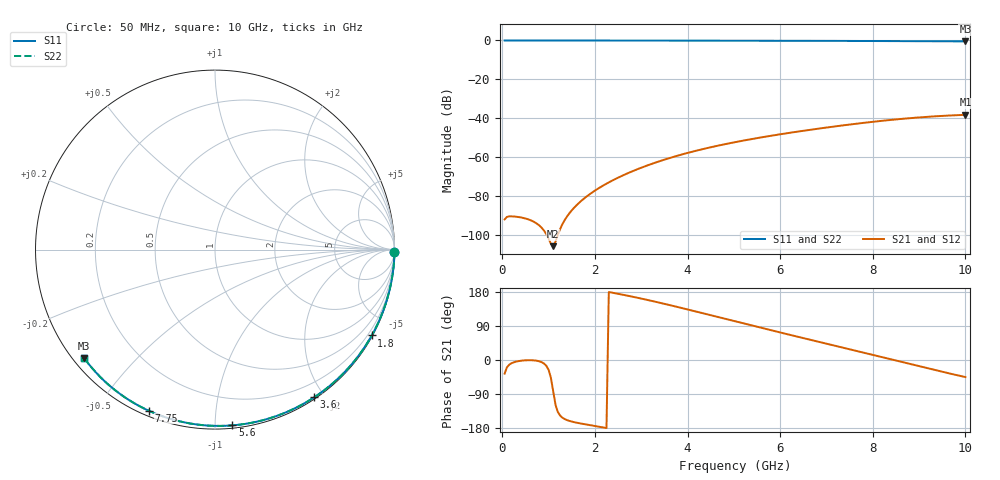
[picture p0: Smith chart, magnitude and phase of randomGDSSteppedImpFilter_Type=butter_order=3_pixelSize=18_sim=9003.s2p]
! freq	dB(S11)	phase(S11)	dB(S12)	phase(S12)
!  dB(S21)	phase(S21)	dB(S22)	phase(S22)
!S-par simulation data
#  GHz  S  DB  R 50
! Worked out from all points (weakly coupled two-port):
!   200 points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, 50 MHz to 10 GHz, reference 50 ohm
!   highest |S21| = -38.13 dB at 10 GHz (marker M1); lowest = -105.5 dB at 1.1 GHz (marker M2)
!   lowest |S11| = -0.5 dB at 10 GHz (marker M3), VSWR 36.45, Z = 1.55 - j18 ohm
!   |S11| at or under -10 dB: nowhere
!   |S22| runs from -0.5 to 0.0 dB; largest |S21 - S12| = 0
!   S11 on the Smith chart (normalised r, x): 50 MHz: open; 1.8 GHz: 0.03, -3.91; 3.6 GHz: 0.02, -1.88; 5.6 GHz: 0.02, -1.10; 7.75 GHz: 0.02, -0.67; 10 GHz: 0.03, -0.36
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0.05  -0.00 -0.8  -91.78 -36.0  -91.78 -36.0  -0.00 -0.8
0.55  -0.01 -8.9  -91.65 -0.5  -91.65 -0.5  -0.01 -8.9
1.1  -0.02 -17.7  -105.49 -83.2  -105.49 -83.2  -0.02 -17.7
1.75  -0.04 -27.9  -81.35 -168.9  -81.35 -168.9  -0.04 -27.9
1.8  -0.04 -28.7  -80.39 -169.9  -80.39 -169.9  -0.04 -28.7
1.85  -0.04 -29.5  -79.49 -171.0  -79.49 -171.0  -0.04 -29.5
2  -0.04 -31.8  -77.00 -174.2  -77.00 -174.2  -0.04 -31.8
2.2  -0.04 -34.9  -74.10 -178.5  -74.10 -178.5  -0.04 -34.9
2.55  -0.05 -40.3  -69.79 173.5  -69.79 173.5  -0.05 -40.3
2.95  -0.06 -46.4  -65.72 163.5  -65.72 163.5  -0.06 -46.4
3.4  -0.07 -53.1  -61.88 151.1  -61.88 151.1  -0.07 -53.1
3.6  -0.08 -56.1  -60.38 145.3  -60.38 145.3  -0.08 -56.1
3.9  -0.08 -60.5  -58.32 136.5  -58.32 136.5  -0.08 -60.5
4.3  -0.09 -66.2  -55.88 124.3  -55.88 124.3  -0.09 -66.2
5.05  -0.12 -76.8  -52.04 101.3  -52.04 101.3  -0.12 -76.8
5.6  -0.14 -84.3  -49.67 84.6  -49.67 84.6  -0.14 -84.3
6.15  -0.16 -91.7  -47.56 68.2  -47.56 68.2  -0.16 -91.7
6.7  -0.19 -98.9  -45.64 51.9  -45.64 51.9  -0.19 -98.9
7.75  -0.26 -112.4  -42.40 20.9  -42.40 20.9  -0.26 -112.4
8.35  -0.31 -119.9  -40.84 3.0  -40.84 3.0  -0.31 -119.9
9.15  -0.38 -129.8  -39.21 -20.9  -39.21 -20.9  -0.38 -129.8
10  -0.48 -140.4  -38.13 -45.0  -38.13 -45.0  -0.48 -140.4
